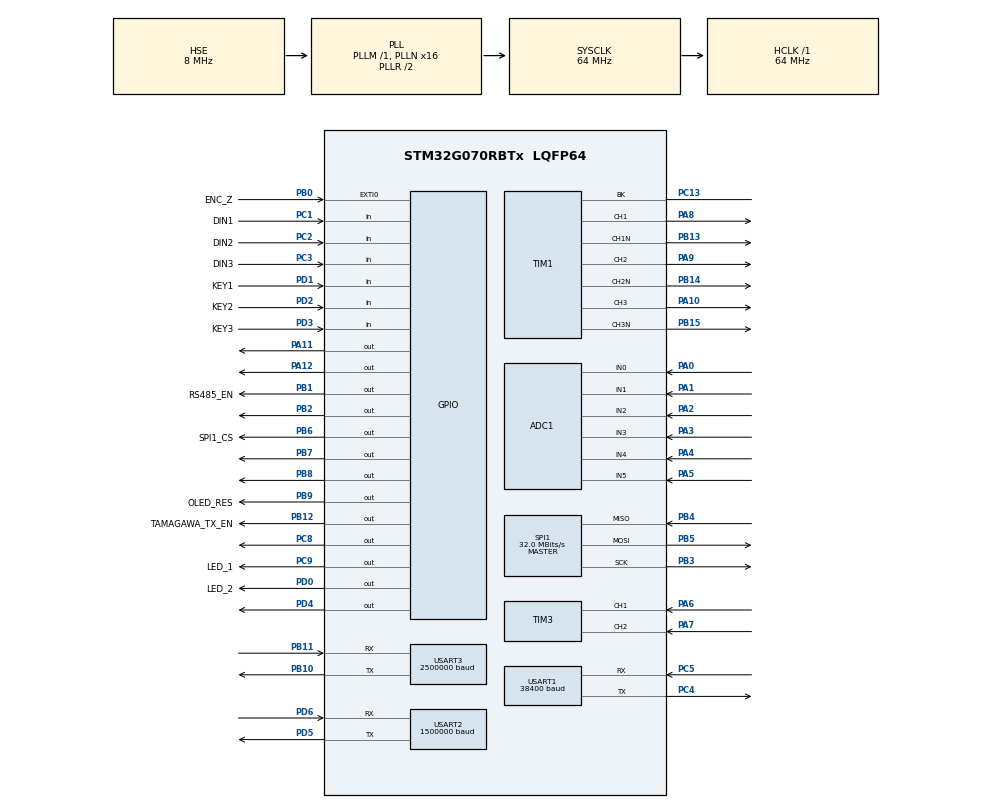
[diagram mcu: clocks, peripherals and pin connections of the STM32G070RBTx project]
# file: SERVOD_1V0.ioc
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ADC1.Channel-0\#ChannelRegularConversion=ADC_CHANNEL_0
ADC1.Channel-1\#ChannelRegularConversion=ADC_CHANNEL_1
ADC1.Channel-2\#ChannelRegularConversion=ADC_CHANNEL_2
ADC1.Channel-3\#ChannelRegularConversion=ADC_CHANNEL_3
ADC1.Channel-4\#ChannelRegularConversion=ADC_CHANNEL_4
ADC1.Channel-5\#ChannelRegularConversion=ADC_CHANNEL_5
ADC1.ClockPrescaler=ADC_CLOCK_SYNC_PCLK_DIV2
ADC1.ContinuousConvMode=DISABLE
ADC1.DMAContinuousRequests=DISABLE
ADC1.DiscontinuousConvMode=ENABLE
ADC1.EOCSelection=ADC_EOC_SEQ_CONV
ADC1.ExternalTrigConv=ADC_SOFTWARE_START
ADC1.NbrOfConversion=6
ADC1.NbrOfConversionFlag=1
ADC1.Rank-0\#ChannelRegularConversion=1
ADC1.Rank-1\#ChannelRegularConversion=2
ADC1.Rank-2\#ChannelRegularConversion=3
ADC1.Rank-3\#ChannelRegularConversion=4
ADC1.Rank-4\#ChannelRegularConversion=5
ADC1.Rank-5\#ChannelRegularConversion=6
ADC1.SamplingTime-0\#ChannelRegularConversion=ADC_SAMPLINGTIME_COMMON_1
ADC1.SamplingTime-1\#ChannelRegularConversion=ADC_SAMPLINGTIME_COMMON_1
ADC1.SamplingTime-2\#ChannelRegularConversion=ADC_SAMPLINGTIME_COMMON_1
ADC1.SamplingTime-3\#ChannelRegularConversion=ADC_SAMPLINGTIME_COMMON_1
ADC1.SamplingTime-4\#ChannelRegularConversion=ADC_SAMPLINGTIME_COMMON_1
ADC1.SamplingTime-5\#ChannelRegularConversion=ADC_SAMPLINGTIME_COMMON_1
ADC1.SamplingTimeCommon1=ADC_SAMPLETIME_7CYCLES_5
ADC1.SamplingTimeCommon2=ADC_SAMPLETIME_7CYCLES_5
ADC1.ScanConvMode=ADC_SCAN_ENABLE
ADC1.SelectedChannel=ADC_CHANNEL_0|ADC_CHANNEL_1|ADC_CHANNEL_2|ADC_CHANNEL_3|ADC_CHANNEL_4|ADC_CHANNEL_5
ADC1.Sequencer=FULLY_CONFIGURABLE
ADC1.master=1
Dma.ADC1.0.Direction=DMA_PERIPH_TO_MEMORY
Dma.ADC1.0.EventEnable=DISABLE
Dma.ADC1.0.Instance=DMA1_Channel1
Dma.ADC1.0.MemDataAlignment=DMA_MDATAALIGN_WORD
Dma.ADC1.0.MemInc=DMA_MINC_ENABLE
Dma.ADC1.0.Mode=DMA_CIRCULAR
Dma.ADC1.0.PeriphDataAlignment=DMA_PDATAALIGN_HALFWORD
Dma.ADC1.0.PeriphInc=DMA_PINC_DISABLE
Dma.ADC1.0.Polarity=HAL_DMAMUX_REQ_GEN_RISING
Dma.ADC1.0.Priority=DMA_PRIORITY_HIGH
Dma.ADC1.0.RequestNumber=1
Dma.ADC1.0.SignalID=NONE
Dma.ADC1.0.SyncEnable=DISABLE
Dma.ADC1.0.SyncPolarity=HAL_DMAMUX_SYNC_NO_EVENT
Dma.ADC1.0.SyncRequestNumber=1
Dma.ADC1.0.SyncSignalID=NONE
Dma.Request0=ADC1
Dma.Request1=USART3_RX
Dma.Request2=USART2_TX
Dma.USART2_TX.2.Direction=DMA_MEMORY_TO_PERIPH
Dma.USART2_TX.2.EventEnable=DISABLE
Dma.USART2_TX.2.Instance=DMA1_Channel4
Dma.USART2_TX.2.MemDataAlignment=DMA_MDATAALIGN_BYTE
Dma.USART2_TX.2.MemInc=DMA_MINC_ENABLE
Dma.USART2_TX.2.Mode=DMA_NORMAL
Dma.USART2_TX.2.PeriphDataAlignment=DMA_PDATAALIGN_BYTE
Dma.USART2_TX.2.PeriphInc=DMA_PINC_DISABLE
Dma.USART2_TX.2.Polarity=HAL_DMAMUX_REQ_GEN_RISING
Dma.USART2_TX.2.Priority=DMA_PRIORITY_LOW
Dma.USART2_TX.2.RequestNumber=1
Dma.USART2_TX.2.SignalID=NONE
Dma.USART2_TX.2.SyncEnable=DISABLE
Dma.USART2_TX.2.SyncPolarity=HAL_DMAMUX_SYNC_NO_EVENT
Dma.USART2_TX.2.SyncRequestNumber=1
Dma.USART2_TX.2.SyncSignalID=NONE
Dma.USART3_RX.1.Direction=DMA_PERIPH_TO_MEMORY
Dma.USART3_RX.1.EventEnable=DISABLE
Dma.USART3_RX.1.Instance=DMA1_Channel2
Dma.USART3_RX.1.MemDataAlignment=DMA_MDATAALIGN_BYTE
Dma.USART3_RX.1.MemInc=DMA_MINC_ENABLE
Dma.USART3_RX.1.Mode=DMA_NORMAL
Dma.USART3_RX.1.PeriphDataAlignment=DMA_PDATAALIGN_BYTE
Dma.USART3_RX.1.PeriphInc=DMA_PINC_DISABLE
Dma.USART3_RX.1.Polarity=HAL_DMAMUX_REQ_GEN_RISING
Dma.USART3_RX.1.Priority=DMA_PRIORITY_HIGH
Dma.USART3_RX.1.RequestNumber=1
Dma.USART3_RX.1.SignalID=NONE
Dma.USART3_RX.1.SyncEnable=DISABLE
Dma.USART3_RX.1.SyncPolarity=HAL_DMAMUX_SYNC_NO_EVENT
Dma.USART3_RX.1.SyncRequestNumber=1
Dma.USART3_RX.1.SyncSignalID=NONE
Mcu.Family=STM32G0
Mcu.Name=STM32G070RBTx
Mcu.Package=LQFP64
Mcu.UserConstants=TIM_1_8_PERIOD_CLOCKS,4000;TIM_1_8_DEADTIME_CLOCKS,50
NVIC.ADC1_IRQn=true\:1\:0\:true\:false\:true\:true\:true\:true
NVIC.DMA1_Ch4_7_DMAMUX1_OVR_IRQn=true\:3\:0\:true\:false\:true\:false\:true\:true
NVIC.DMA1_Channel1_IRQn=true\:0\:0\:false\:false\:true\:false\:true\:true
NVIC.DMA1_Channel2_3_IRQn=true\:0\:0\:true\:false\:true\:false\:true\:true
NVIC.TIM1_BRK_UP_TRG_COM_IRQn=true\:0\:0\:false\:false\:true\:true\:true\:true
NVIC.TIM1_CC_IRQn=true\:2\:0\:true\:false\:true\:true\:true\:true
NVIC.TIM6_IRQn=true\:3\:0\:true\:false\:true\:true\:true\:true
NVIC.USART1_IRQn=true\:2\:0\:true\:false\:true\:true\:true\:true
NVIC.USART2_IRQn=true\:2\:0\:true\:false\:true\:true\:true\:true
PA0.Mode=IN0
PA0.Signal=ADC1_IN0
PA1.Mode=IN1
PA1.Signal=ADC1_IN1
PA10.Signal=S_TIM1_CH3
PA11\ [PA9].GPIO_PuPd=GPIO_PULLUP
PA11\ [PA9].Signal=GPIO_Output
PA12\ [PA10].GPIO_PuPd=GPIO_PULLUP
PA12\ [PA10].Signal=GPIO_Output
PA13.Mode=Serial_Wire
PA13.Signal=SYS_SWDIO
PA14-BOOT0.Mode=Serial_Wire
PA14-BOOT0.Signal=SYS_SWCLK
PA2.Mode=IN2
PA2.Signal=ADC1_IN2
PA3.Mode=IN3
PA3.Signal=ADC1_IN3
PA4.Mode=IN4
PA4.Signal=ADC1_IN4
PA5.Mode=IN5
PA5.Signal=ADC1_IN5
PA6.Signal=S_TIM3_CH1
PA7.Signal=S_TIM3_CH2
PA8.Signal=S_TIM1_CH1
PA9.Signal=S_TIM1_CH2
PB0.GPIO_Label=ENC_Z
PB0.Signal=GPXTI0
PB1.GPIO_Label=RS485_EN
PB1.Signal=GPIO_Output
PB10.Mode=Asynchronous
PB10.Signal=USART3_TX
PB11.Mode=Asynchronous
PB11.Signal=USART3_RX
PB12.GPIO_Label=TAMAGAWA_TX_EN
PB12.Signal=GPIO_Output
PB13.Mode=PWM Generation1 CH1 CH1N
PB13.Signal=TIM1_CH1N
PB14.Mode=PWM Generation2 CH2 CH2N
PB14.Signal=TIM1_CH2N
PB15.Mode=PWM Generation3 CH3 CH3N
PB15.Signal=TIM1_CH3N
PB2.Signal=GPIO_Output
PB3.Mode=Full_Duplex_Master
PB3.Signal=SPI1_SCK
PB4.Mode=Full_Duplex_Master
PB4.Signal=SPI1_MISO
PB5.Mode=Full_Duplex_Master
PB5.Signal=SPI1_MOSI
PB6.GPIO_Label=SPI1_CS
PB6.Signal=GPIO_Output
PB7.Signal=GPIO_Output
PB8.Signal=GPIO_Output
PB9.GPIO_Label=OLED_RES
PB9.Signal=GPIO_Output
PC1.GPIO_Label=DIN1
PC1.GPIO_PuPd=GPIO_PULLUP
PC1.Signal=GPIO_Input
PC13.Mode=Activate-Break-Input
PC13.Signal=TIM1_BK
PC2.GPIO_Label=DIN2
PC2.GPIO_PuPd=GPIO_PULLUP
PC2.Signal=GPIO_Input
PC3.GPIO_Label=DIN3
PC3.GPIO_PuPd=GPIO_PULLUP
PC3.Signal=GPIO_Input
PC4.Mode=Asynchronous
PC4.Signal=USART1_TX
PC5.Mode=Asynchronous
PC5.Signal=USART1_RX
PC8.Signal=GPIO_Output
PC9.GPIO_Label=LED_1
PC9.Signal=GPIO_Output
PD0.GPIO_Label=LED_2
PD0.Signal=GPIO_Output
PD1.GPIO_Label=KEY1
PD1.GPIO_PuPd=GPIO_PULLUP
PD1.Signal=GPIO_Input
PD2.GPIO_Label=KEY2
PD2.GPIO_PuPd=GPIO_PULLUP
PD2.Signal=GPIO_Input
PD3.GPIO_Label=KEY3
PD3.GPIO_PuPd=GPIO_PULLUP
PD3.Signal=GPIO_Input
PD4.Signal=GPIO_Output
PD5.Mode=Asynchronous
PD5.Signal=USART2_TX
PD6.Mode=Asynchronous
PD6.Signal=USART2_RX
PF0-OSC_IN\ (PF0).Mode=HSE-External-Oscillator
PF0-OSC_IN\ (PF0).Signal=RCC_OSC_IN
PF1-OSC_OUT\ (PF1).Mode=HSE-External-Oscillator
PF1-OSC_OUT\ (PF1).Signal=RCC_OSC_OUT
ProjectManager.HeapSize=0x200
ProjectManager.StackSize=0x400
ProjectManager.TargetToolchain=MDK-ARM V5
RCC.ADCFreq_Value=64000000
RCC.AHBFreq_Value=64000000
RCC.CortexFreq_Value=64000000
RCC.EXTERNAL_CLOCK_VALUE=48000
RCC.HCLKFreq_Value=64000000
RCC.HSE_VALUE=8000000
RCC.HSI_VALUE=16000000
RCC.LSE_VALUE=32768
RCC.PLLN=16
RCC.PLLSourceVirtual=RCC_PLLSOURCE_HSE
RCC.SYSCLKFreq_VALUE=64000000
RCC.SYSCLKSource=RCC_SYSCLKSOURCE_PLLCLK
RCC.VCOOutputFreq_Value=128000000
SH.S_TIM1_CH1.0=TIM1_CH1,PWM Generation1 CH1 CH1N
SH.S_TIM1_CH2.0=TIM1_CH2,PWM Generation2 CH2 CH2N
SH.S_TIM1_CH3.0=TIM1_CH3,PWM Generation3 CH3 CH3N
SH.S_TIM3_CH1.0=TIM3_CH1,Encoder_Interface
SH.S_TIM3_CH2.0=TIM3_CH2,Encoder_Interface
SPI1.CalculateBaudRate=32.0 MBits/s
SPI1.Direction=SPI_DIRECTION_2LINES
SPI1.Mode=SPI_MODE_MASTER
SPI1.VirtualType=VM_MASTER
TIM1.AutoReloadPreload=TIM_AUTORELOAD_PRELOAD_DISABLE
TIM1.BreakState=TIM_BREAK_DISABLE
TIM1.Channel-Output\ Compare4\ No\ Output=TIM_CHANNEL_4
TIM1.Channel-PWM\ Generation1\ CH1\ CH1N=TIM_CHANNEL_1
TIM1.Channel-PWM\ Generation2\ CH2\ CH2N=TIM_CHANNEL_2
TIM1.Channel-PWM\ Generation3\ CH3\ CH3N=TIM_CHANNEL_3
TIM1.CounterMode=TIM_COUNTERMODE_CENTERALIGNED3
TIM1.DeadTime=TIM_1_8_DEADTIME_CLOCKS
TIM1.OCMode_PWM-PWM\ Generation1\ CH1\ CH1N=TIM_OCMODE_PWM2
TIM1.OCMode_PWM-PWM\ Generation2\ CH2\ CH2N=TIM_OCMODE_PWM2
TIM1.OCMode_PWM-PWM\ Generation3\ CH3\ CH3N=TIM_OCMODE_PWM2
TIM1.Period=TIM_1_8_PERIOD_CLOCKS
TIM1.Pulse-Output\ Compare4\ No\ Output=10
TIM1.Pulse-PWM\ Generation1\ CH1\ CH1N=TIM_1_8_PERIOD_CLOCKS/2
TIM1.Pulse-PWM\ Generation2\ CH2\ CH2N=TIM_1_8_PERIOD_CLOCKS/2
TIM1.Pulse-PWM\ Generation3\ CH3\ CH3N=TIM_1_8_PERIOD_CLOCKS/2
TIM1.RepetitionCounter=1
TIM1.TIM_MasterOutputTrigger=TIM_TRGO_UPDATE
TIM3.EncoderMode=TIM_ENCODERMODE_TI12
TIM3.IC1Filter=4
TIM3.IC2Filter=4
TIM6.AutoReloadPreload=TIM_AUTORELOAD_PRELOAD_ENABLE
TIM6.Period=64000
TIM6.TIM_MasterOutputTrigger=TIM_TRGO_UPDATE
USART1.BaudRate=38400
USART1.DMADisableonRxErrorParam=ADVFEATURE_DMA_ENABLEONRXERROR
USART1.FIFOMode=FIFOMODE_DISABLE
USART1.OverrunDisableParam=ADVFEATURE_OVERRUN_DISABLE
USART1.VirtualMode-Asynchronous=VM_ASYNC
USART2.BaudRate=1500000
USART2.OverSampling=UART_OVERSAMPLING_8
USART2.VirtualMode-Asynchronous=VM_ASYNC
USART3.BaudRate=2500000
USART3.ClockPrescaler=PRESCALER_DIV1
USART3.OverSampling=UART_OVERSAMPLING_16
USART3.VirtualMode-Asynchronous=VM_ASYNC
VP_SYS_VS_DBSignals.Mode=DisableDeadBatterySignals
VP_TIM1_VS_ClockSourceINT.Mode=Internal
VP_TIM1_VS_no_output4.Mode=Output Compare4 No Output
VP_TIM6_VS_ClockSourceINT.Mode=Enable_Timer
board=custom

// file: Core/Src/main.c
/* USER CODE BEGIN Header */
/**
  ******************************************************************************
  * @file           : main.c
  * @brief          : Main program body
  ******************************************************************************
  * @attention
  *
  * <h2><center>&copy; Copyright (c) 2021 STMicroelectronics.
  * All rights reserved.</center></h2>
  *
  * This software component is licensed by ST under BSD 3-Clause license,
  * the "License"; You may not use this file except in compliance with the
  * License. You may obtain a copy of the License at:
  *                        opensource.org/licenses/BSD-3-Clause
  *
  ******************************************************************************
  */
/* USER CODE END Header */
#include "main.h"
#include "adc.h"
#include "dma.h"
#include "spi.h"
#include "tim.h"
#include "usart.h"
#include "gpio.h"

/* USER CODE BEGIN Includes */
#include "mcpwm.h"
#include "oled.h"
#include "math.h"
#include "apid.h"
#include "perf_counter.h"
#include "amotor_port.h"

/* USER CODE END Includes */

/* USER CODE BEGIN PV */
extern DMA_HandleTypeDef hdma_adc1;
extern ADC_HandleTypeDef hadc1;
/* USER CODE END PV */

void SystemClock_Config(void);

/* USER CODE BEGIN 0 */
int i,j,k;
//uint32_t ADC_Value[10];
int chanel1=2000,chanel2=2000,chanel3=2000
	,chanel4=10;

//typedef struct{
//	float float_d[5];
//	uint8_t tail[4];
//}vofa_date;

//vofa_date date={
//	.float_d={1.2,1.3,12.5,1.2},
//	.tail={0x00,0x00,0x80,0x7f},
//};

/* USER CODE END 0 */

int main(void)
{

  /* MCU Configuration--------------------------------------------------------*/

  /* Reset of all peripherals, Initializes the Flash interface and the Systick. */
  HAL_Init();

  /* Configure the system clock */
  SystemClock_Config();

  /* Initialize all configured peripherals */
  MX_GPIO_Init();
  MX_DMA_Init();
  MX_ADC1_Init();
  MX_TIM1_Init();
  MX_TIM3_Init();
  MX_USART1_UART_Init();
  MX_USART2_UART_Init();
  MX_USART3_UART_Init();
  MX_TIM6_Init();
  MX_SPI1_Init();
  /* USER CODE BEGIN 2 */
	//delay_init(64);
	start_cycle_counter();

		uint8_t ch = 0x0a;
	//HAL_TIM_PWM_Start(&htim1, TIM_CHANNEL_4);

	//HAL_ADC_Start_DMA(&hadc1, (uint32_t*)ADC_Value, 6);

	Init_Modbus_Addr_List();

	Init_System_Parameter();
	Init_Motor_Parameter();
	Init_Control_Parameter();

	OLED_Init();
	Exchange_motor_code();

	uart1_init(RS485_Baudrate);
//	uart2_init(RS232_Baudrate);
	uart3_init(Tamagawa_Baudrate);
	send_to_tamagawa();
	delay_ms(100);
	HAL_TIM_Base_Start_IT(&htim6);

	amotor_part_init();
  /* USER CODE END 2 */

  /* Infinite loop */
  /* USER CODE BEGIN WHILE */
		motor.control.target_position=0;

	motor.wkc.lic_aprove.bits.motor_on=1;
  motor.motion.work_mode = Position_Mode;
	//motor.control.target_Iq  =600;
	//motor.control.target_speed  =6000;

		//HAL_UART_Transmit_DMA(&huart2, (uint8_t *)&date, sizeof(vofa_date));
  while (1)
  {
		if(OLED_count>OLED_Period)
		{
			OLED_Process();
			OLED_count=0;
		}
		//DS402_process();
		KEY_Process();
		//RS232_Process();
		//RS232_Solve_Service();
		//RS485_Process();
		//Modbus_Solve_Service();
		//Auto_reserve_process();

		//calibrate_hall_phase();
		//calibrate_tamagawa_encoder();
    /* USER CODE END WHILE */

  }
}

void SystemClock_Config(void)
{
  RCC_OscInitTypeDef RCC_OscInitStruct = {0};
  RCC_ClkInitTypeDef RCC_ClkInitStruct = {0};

  /** Configure the main internal regulator output voltage
  */
  HAL_PWREx_ControlVoltageScaling(PWR_REGULATOR_VOLTAGE_SCALE1);

  /** Initializes the RCC Oscillators according to the specified parameters
  * in the RCC_OscInitTypeDef structure.
  */
  RCC_OscInitStruct.OscillatorType = RCC_OSCILLATORTYPE_HSE;
  RCC_OscInitStruct.HSEState = RCC_HSE_ON;
  RCC_OscInitStruct.PLL.PLLState = RCC_PLL_ON;
  RCC_OscInitStruct.PLL.PLLSource = RCC_PLLSOURCE_HSE;
  RCC_OscInitStruct.PLL.PLLM = RCC_PLLM_DIV1;
  RCC_OscInitStruct.PLL.PLLN = 16;
  RCC_OscInitStruct.PLL.PLLP = RCC_PLLP_DIV2;
  RCC_OscInitStruct.PLL.PLLR = RCC_PLLR_DIV2;
  if (HAL_RCC_OscConfig(&RCC_OscInitStruct) != HAL_OK)
  {
    Error_Handler();
  }

  /** Initializes the CPU, AHB and APB buses clocks
  */
  RCC_ClkInitStruct.ClockType = RCC_CLOCKTYPE_HCLK|RCC_CLOCKTYPE_SYSCLK
                              |RCC_CLOCKTYPE_PCLK1;
  RCC_ClkInitStruct.SYSCLKSource = RCC_SYSCLKSOURCE_PLLCLK;
  RCC_ClkInitStruct.AHBCLKDivider = RCC_SYSCLK_DIV1;
  RCC_ClkInitStruct.APB1CLKDivider = RCC_HCLK_DIV1;

  if (HAL_RCC_ClockConfig(&RCC_ClkInitStruct, FLASH_LATENCY_2) != HAL_OK)
  {
    Error_Handler();
  }
}

void Error_Handler(void)
{
  __disable_irq();
  while (1)
  {
  }
}
